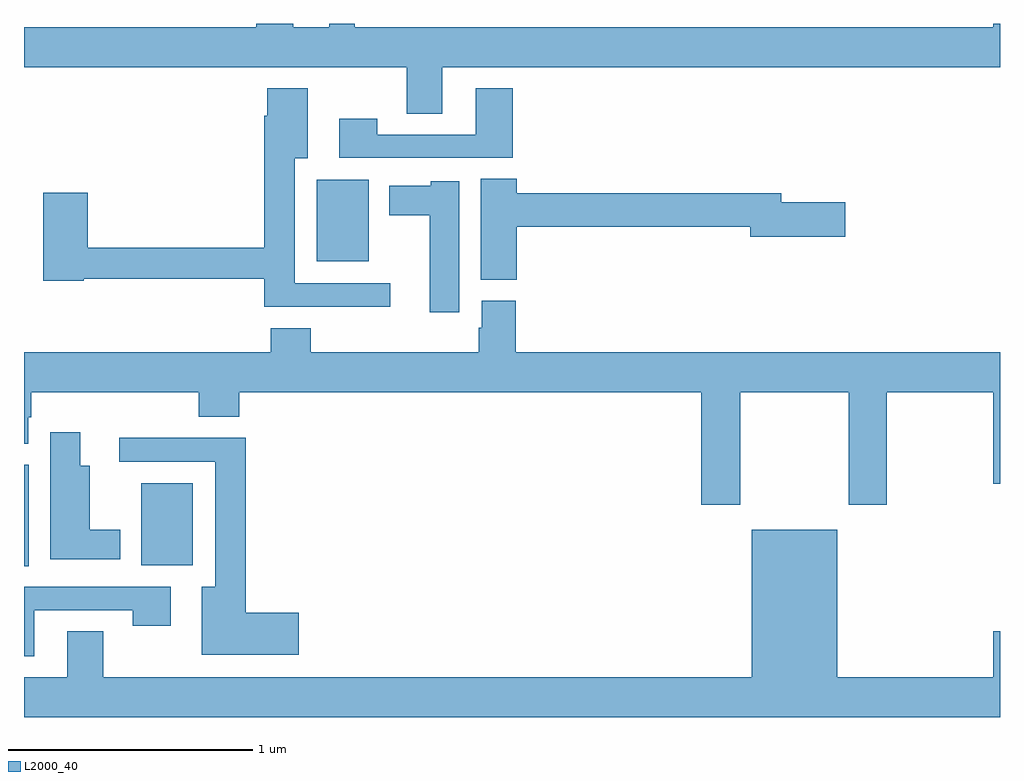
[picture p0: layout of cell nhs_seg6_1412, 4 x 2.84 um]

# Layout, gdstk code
import gdstk
lib = gdstk.Library(unit=1e-6, precision=1e-09)
def R(c, l, rs):  # rectangles x0, y0, x1, y1
    for r in rs: c.add(gdstk.rectangle(r[:2], r[2:], *l))
def P(c, l, *ps):  # polygons
    for p in ps: c.add(gdstk.Polygon(p, *l))
L2000_40 = (2000, 40)

nhs_seg6_1412 = lib.new_cell('nhs_seg6_1412')
R(nhs_seg6_1412, L2000_40, [(197,961.276,197.02,961.692), (197.48,961.28,197.692,961.615), (198.2,962.525,198.412,962.86)])
P(nhs_seg6_1412, L2000_40, [(198.355,963.5),(198.251,963.5),(198.251,963.484),(198.103,963.484),(198.103,963.5),(197.951,963.5),(197.951,963.484),(197,963.484),(197,963.32),(198.568,963.32),(198.568,963.13),(198.715,963.13),(198.715,963.32),(201,963.32),(201,963.5),(200.972,963.5),(200.972,963.484),(198.355,963.484)],
  [(199.004,963.235),(198.851,963.235),(198.851,963.045),(198.447,963.045),(198.447,963.109),(198.291,963.109),(198.291,962.949),(199.004,962.949)],
  [(198.502,962.436),(198.109,962.436),(198.109,962.948),(198.163,962.948),(198.163,963.235),(197.996,963.235),(197.996,963.122),(197.984,963.122),(197.984,962.582),(197.261,962.582),(197.261,962.806),(197.078,962.806),(197.078,962.446),(197.244,962.446),(197.244,962.454),(197.984,962.454),(197.984,962.339),(198.502,962.339)],
  [(199.019,962.668),(199.976,962.668),(199.976,962.626),(200.365,962.626),(200.365,962.768),(200.104,962.768),(200.104,962.804),(199.019,962.804),(199.019,962.864),(198.872,962.864),(198.872,962.449),(199.019,962.449)],
  [(198.784,962.854),(198.666,962.854),(198.666,962.836),(198.497,962.836),(198.497,962.714),(198.662,962.714),(198.662,962.316),(198.784,962.316)],
  [(199.935,961.988),(200.38,961.988),(200.38,961.527),(200.535,961.527),(200.535,961.988),(200.972,961.988),(200.972,961.614),(201,961.614),(201,962.152),(199.016,962.152),(199.016,962.364),(198.875,962.364),(198.875,962.253),(198.863,962.253),(198.863,962.152),(198.176,962.152),(198.176,962.251),(198.011,962.251),(198.011,962.152),(197,962.152),(197,961.777),(197.017,961.777),(197.017,961.887),(197.03,961.887),(197.03,961.988),(197.717,961.988),(197.717,961.889),(197.882,961.889),(197.882,961.988),(199.775,961.988),(199.775,961.527),(199.935,961.527)],
  [(197.395,961.426),(197.269,961.426),(197.269,961.687),(197.23,961.687),(197.23,961.825),(197.108,961.825),(197.108,961.304),(197.395,961.304)],
  [(198.127,961.085),(197.909,961.085),(197.909,961.802),(197.391,961.802),(197.391,961.704),(197.783,961.704),(197.783,961.192),(197.729,961.192),(197.729,960.914),(198.127,960.914)],
  [(201,961.009),(200.972,961.009),(200.972,960.82),(200.332,960.82),(200.332,961.426),(199.982,961.426),(199.982,960.82),(197.325,960.82),(197.325,961.01),(197.177,961.01),(197.177,960.82),(197,960.82),(197,960.656),(201,960.656)],
  [(197.041,961.095),(197.446,961.095),(197.446,961.032),(197.602,961.032),(197.602,961.191),(197,961.191),(197,960.906),(197.041,960.906)])

lib.write_gds('nhs_seg6_1412.gds')
